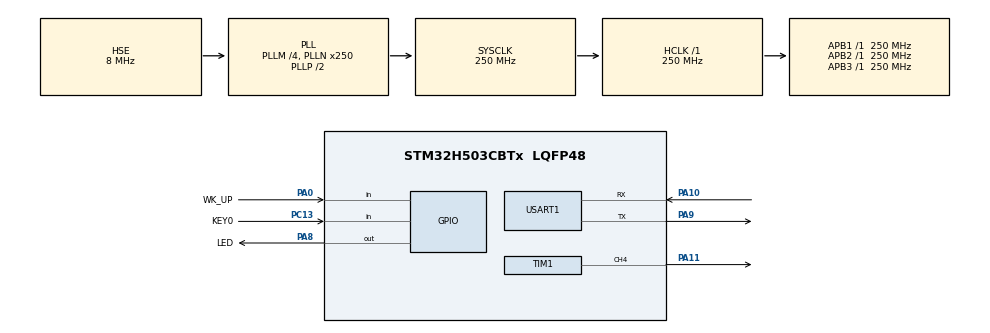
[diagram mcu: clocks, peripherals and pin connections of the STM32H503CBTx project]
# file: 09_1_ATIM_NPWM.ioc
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BOOTPATH.BootPathName=LEGACY
BOOTPATH.UserSelectedBootPath=LEGACY
Mcu.Family=STM32H5
Mcu.Name=STM32H503CBTx
Mcu.Package=LQFP48
NVIC.PriorityGroup=NVIC_PRIORITYGROUP_2
NVIC.TIM1_UP_IRQn=true\:2\:1\:true\:false\:true\:true\:true\:true
NVIC.USART1_IRQn=true\:2\:2\:true\:false\:true\:true\:true\:true
PA0.GPIO_Label=WK_UP
PA0.GPIO_PuPd=GPIO_PULLDOWN
PA0.Signal=GPIO_Input
PA10.GPIO_ModeDefaultPP=GPIO_MODE_AF_PP
PA10.GPIO_Speed=GPIO_SPEED_FREQ_LOW
PA10.Mode=Asynchronous
PA10.Signal=USART1_RX
PA11.Signal=S_TIM1_CH4
PA8.GPIO_Label=LED
PA8.GPIO_PuPd=GPIO_PULLUP
PA8.GPIO_Speed=GPIO_SPEED_FREQ_HIGH
PA8.PinState=GPIO_PIN_SET
PA8.Signal=GPIO_Output
PA9.GPIO_Speed=GPIO_SPEED_FREQ_HIGH
PA9.Mode=Asynchronous
PA9.Signal=USART1_TX
PC13.GPIO_Label=KEY0
PC13.GPIO_PuPd=GPIO_PULLDOWN
PC13.Signal=GPIO_Input
PC14-OSC32_IN(OSC32_IN).Mode=LSE-External-Oscillator
PC14-OSC32_IN(OSC32_IN).Signal=RCC_OSC32_IN
PC15-OSC32_OUT(OSC32_OUT).Mode=LSE-External-Oscillator
PC15-OSC32_OUT(OSC32_OUT).Signal=RCC_OSC32_OUT
PH0-OSC_IN(PH0).Mode=HSE-External-Oscillator
PH0-OSC_IN(PH0).Signal=RCC_OSC_IN
PH1-OSC_OUT(PH1).Mode=HSE-External-Oscillator
PH1-OSC_OUT(PH1).Signal=RCC_OSC_OUT
ProjectManager.HeapSize=0x200
ProjectManager.StackSize=0x400
ProjectManager.TargetToolchain=STM32CubeIDE
RCC.ADCFreq_Value=250000000
RCC.AHBFreq_Value=250000000
RCC.APB1Freq_Value=250000000
RCC.APB1TimFreq_Value=250000000
RCC.APB2Freq_Value=250000000
RCC.APB2TimFreq_Value=250000000
RCC.APB3Freq_Value=250000000
RCC.CSI_VALUE=4000000
RCC.CortexFreq_Value=250000000
RCC.EPOD_VALUE=8000000
RCC.HCLKFreq_Value=250000000
RCC.HSE_VALUE=8000000
RCC.HSI48_VALUE=48000000
RCC.HSI_VALUE=64000000
RCC.LSIRC_VALUE=32000
RCC.PLLM=4
RCC.PLLN=250
RCC.PLLSourceVirtual=RCC_PLL1_SOURCE_HSE
RCC.SYSCLKFreq_VALUE=250000000
RCC.SYSCLKSource=RCC_SYSCLKSOURCE_PLLCLK
RCC.USBFreq_Value=48000000
RCC.VCOOutputFreq_Value=500000000
SH.S_TIM1_CH4.0=TIM1_CH4,PWM Generation4 CH4
TIM1.AutoReloadPreload=TIM_AUTORELOAD_PRELOAD_ENABLE
TIM1.Channel-PWM\ Generation4\ CH4=TIM_CHANNEL_4
TIM1.OC4Preload_PWM=DISABLE
TIM1.PeriodNoDither=5000-1
TIM1.Prescaler=25000-1
TIM1.PulseNoDither_4=2500
USART1.VirtualMode=VM_ASYNC
VP_BOOTPATH_VS_BOOTPATH.Mode=BP_Activate
VP_ICACHE_VS_ICACHE.Mode=DefaultMode
VP_MEMORYMAP_VS_MEMORYMAP.Mode=CurAppReg
VP_PWR_VS_DBSignals.Mode=DisableDeadBatterySignals
VP_PWR_VS_LPOM.Mode=PowerOptimisation
VP_PWR_VS_SECSignals.Mode=Security/Privilege
VP_TIM1_VS_ClockSourceINT.Mode=Internal
board=custom

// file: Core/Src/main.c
/**
 ****************************************************************************************************
 * @file        main.c
 * @author      ALIENTEK
 * @brief       Advanced timer output a specified number of PWM code
 * @license     Copyright (C) 2012-2024, ALIENTEK
 ****************************************************************************************************
 * @attention
 *
 * platform     : ALIENTEK M48-STM32H503 board
 * website      : www.alientek.com
 * forum        : www.openedv.com/forum.php
 *
 * change logs  ：
 * version      data         notes
 * V1.0         20240309     the first version
 *
 ****************************************************************************************************
 */

/* USER CODE BEGIN Header */

/* USER CODE END Header */
#include "main.h"
#include "icache.h"
#include "memorymap.h"
#include "tim.h"
#include "usart.h"
#include "gpio.h"

/* USER CODE BEGIN Includes */
#include "../../BSP/LED/led.h"
#include "../../BSP/KEY/key.h"
/* USER CODE END Includes */

void SystemClock_Config(void);

/* USER CODE BEGIN 0 */
/**
 * @brief   Displays information about the experiment
 * @param   None
 * @retval  None
 */
void stm32h503cb_show_mesg(void)
{
	/* The serial port outputs the experimental information */
	printf("\n");
	printf("********************************\r\n");
	printf("STM32H503\r\n");
	printf("ATIM PWM Count Test\r\n");
	printf("ATOM@ALIENTEK\r\n");
	printf("********************************\r\n");
	printf("\r\n");
}
/* USER CODE END 0 */

int main(void)
{
  /* USER CODE BEGIN 1 */
  uint8_t key = 0;
  uint8_t t = 0;
  /* USER CODE END 1 */

  /* MCU Configuration--------------------------------------------------------*/

  /* Reset of all peripherals, Initializes the Flash interface and the Systick. */
  HAL_Init();

  /* Configure the system clock */
  SystemClock_Config();

  /* Initialize all configured peripherals */
  MX_GPIO_Init();
  MX_ICACHE_Init();
  MX_USART1_UART_Init();
  MX_TIM1_Init();
  /* USER CODE BEGIN 2 */
  stm32h503cb_show_mesg();
  atim_timx_npwm_chy_set(5);      		/* Five PWM waves are output. */
  /* USER CODE END 2 */

  /* Infinite loop */
  /* USER CODE BEGIN WHILE */
  while (1)
  {
	  key = key_scan(0);             /* scan key */

	  if (key == KEY0_PRES)          /* KEY0 is pressed */
	  {
	  	 atim_timx_npwm_chy_set(5);  /* Control TIM1_CH4 output 5 PWM pulses. */
	  }

	  if (t > 20)                    /* Enter once in 200ms. */
	  {
	  	 t = 0;
	     LED_TOGGLE();               /* LED blinks to prompt the program to run */
	  }
	  t++;
	  HAL_Delay(10);                 /* delay 10ms */
    /* USER CODE END WHILE */

  }
}

void SystemClock_Config(void)
{
  RCC_OscInitTypeDef RCC_OscInitStruct = {0};
  RCC_ClkInitTypeDef RCC_ClkInitStruct = {0};

  /** Configure the main internal regulator output voltage
  */
  __HAL_PWR_VOLTAGESCALING_CONFIG(PWR_REGULATOR_VOLTAGE_SCALE0);

  while(!__HAL_PWR_GET_FLAG(PWR_FLAG_VOSRDY)) {}

  /** Initializes the RCC Oscillators according to the specified parameters
  * in the RCC_OscInitTypeDef structure.
  */
  RCC_OscInitStruct.OscillatorType = RCC_OSCILLATORTYPE_HSE;
  RCC_OscInitStruct.HSEState = RCC_HSE_ON;
  RCC_OscInitStruct.PLL.PLLState = RCC_PLL_ON;
  RCC_OscInitStruct.PLL.PLLSource = RCC_PLL1_SOURCE_HSE;
  RCC_OscInitStruct.PLL.PLLM = 4;
  RCC_OscInitStruct.PLL.PLLN = 250;
  RCC_OscInitStruct.PLL.PLLP = 2;
  RCC_OscInitStruct.PLL.PLLQ = 2;
  RCC_OscInitStruct.PLL.PLLR = 2;
  RCC_OscInitStruct.PLL.PLLRGE = RCC_PLL1_VCIRANGE_1;
  RCC_OscInitStruct.PLL.PLLVCOSEL = RCC_PLL1_VCORANGE_WIDE;
  RCC_OscInitStruct.PLL.PLLFRACN = 0;
  if (HAL_RCC_OscConfig(&RCC_OscInitStruct) != HAL_OK)
  {
    Error_Handler();
  }

  /** Initializes the CPU, AHB and APB buses clocks
  */
  RCC_ClkInitStruct.ClockType = RCC_CLOCKTYPE_HCLK|RCC_CLOCKTYPE_SYSCLK
                              |RCC_CLOCKTYPE_PCLK1|RCC_CLOCKTYPE_PCLK2
                              |RCC_CLOCKTYPE_PCLK3;
  RCC_ClkInitStruct.SYSCLKSource = RCC_SYSCLKSOURCE_PLLCLK;
  RCC_ClkInitStruct.AHBCLKDivider = RCC_SYSCLK_DIV1;
  RCC_ClkInitStruct.APB1CLKDivider = RCC_HCLK_DIV1;
  RCC_ClkInitStruct.APB2CLKDivider = RCC_HCLK_DIV1;
  RCC_ClkInitStruct.APB3CLKDivider = RCC_HCLK_DIV1;

  if (HAL_RCC_ClockConfig(&RCC_ClkInitStruct, FLASH_LATENCY_5) != HAL_OK)
  {
    Error_Handler();
  }
}

void Error_Handler(void)
{
  __disable_irq();
  while (1)
  {
  }
}
